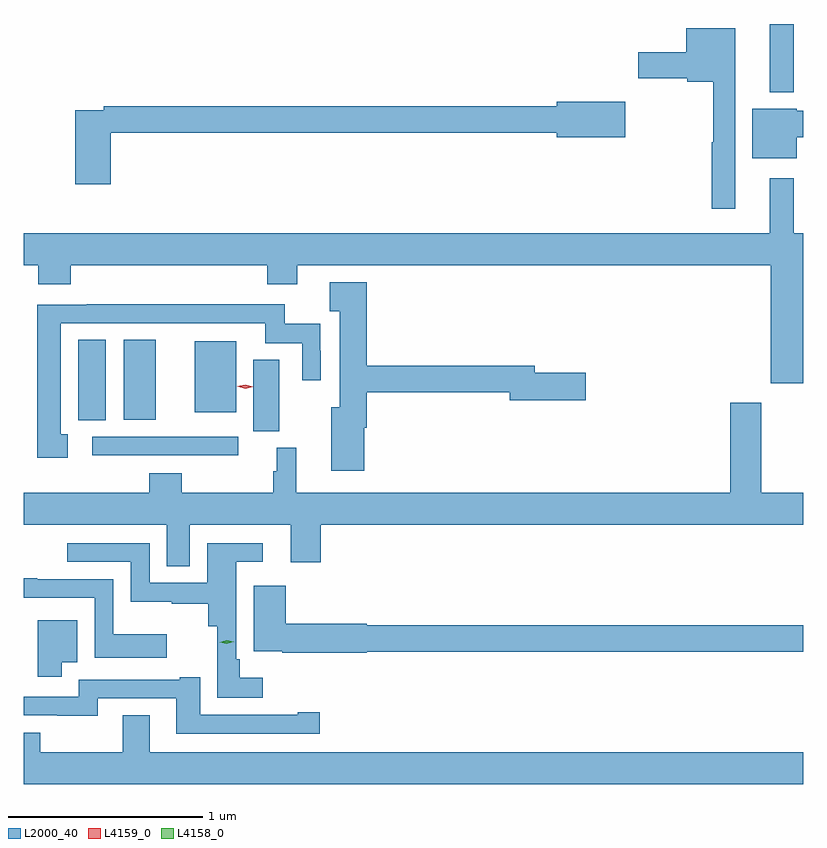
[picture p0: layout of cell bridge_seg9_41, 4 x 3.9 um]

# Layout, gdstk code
import gdstk
lib = gdstk.Library(unit=1e-6, precision=1e-09)
def R(c, l, rs):  # rectangles x0, y0, x1, y1
    for r in rs: c.add(gdstk.rectangle(r[:2], r[2:], *l))
def P(c, l, *ps):  # polygons
    for p in ps: c.add(gdstk.Polygon(p, *l))
L2000_40 = (2000, 40)
L4158_0 = (4158, 0)
L4159_0 = (4159, 0)

bridge_seg9_41 = lib.new_cell('bridge_seg9_41')
R(bridge_seg9_41, L2000_40, [(923.106,1178.127,923.854,1178.223), (923.933,1178.251,924.067,1178.617), (923.033,1178.308,923.176,1178.72), (923.267,1178.31,923.431,1178.72), (923.633,1178.348,923.845,1178.713), (926.585,1179.992,926.707,1180.342)])
P(bridge_seg9_41, L2000_40, [(926.407,1180.321),(926.156,1180.321),(926.156,1180.198),(925.908,1180.198),(925.908,1180.064),(926.16,1180.064),(926.16,1180.046),(926.293,1180.046),(926.293,1179.734),(926.286,1179.734),(926.286,1179.393),(926.407,1179.393)],
  [(923.201,1179.784),(925.49,1179.784),(925.49,1179.761),(925.843,1179.761),(925.843,1179.944),(925.49,1179.944),(925.49,1179.92),(923.164,1179.92),(923.164,1179.9),(923.018,1179.9),(923.018,1179.519),(923.201,1179.519)],
  [(926.722,1179.76),(926.755,1179.76),(926.755,1179.896),(926.722,1179.896),(926.722,1179.907),(926.495,1179.907),(926.495,1179.653),(926.722,1179.653)],
  [(922.755,1179.104),(922.829,1179.104),(922.829,1179.005),(922.994,1179.005),(922.994,1179.104),(924.005,1179.104),(924.005,1179.005),(924.157,1179.005),(924.157,1179.104),(926.588,1179.104),(926.588,1178.498),(926.755,1178.498),(926.755,1179.268),(926.707,1179.268),(926.707,1179.55),(926.585,1179.55),(926.585,1179.268),(922.755,1179.268)],
  [(924.502,1178.27),(924.515,1178.27),(924.515,1178.452),(925.25,1178.452),(925.25,1178.41),(925.639,1178.41),(925.639,1178.552),(925.378,1178.552),(925.378,1178.588),(924.515,1178.588),(924.515,1179.016),(924.324,1179.016),(924.324,1178.868),(924.377,1178.868),(924.377,1178.374),(924.332,1178.374),(924.332,1178.048),(924.502,1178.048)],
  [(922.981,1178.235),(922.945,1178.235),(922.945,1178.805),(923.993,1178.805),(923.993,1178.702),(924.183,1178.702),(924.183,1178.514),(924.279,1178.514),(924.279,1178.664),(924.276,1178.664),(924.276,1178.802),(924.093,1178.802),(924.093,1178.903),(923.077,1178.903),(923.077,1178.901),(922.824,1178.901),(922.824,1178.115),(922.981,1178.115)],
  [(923.605,1177.772),(924.125,1177.772),(924.125,1177.578),(924.278,1177.578),(924.278,1177.772),(926.755,1177.772),(926.755,1177.936),(926.541,1177.936),(926.541,1178.398),(926.381,1178.398),(926.381,1177.936),(924.152,1177.936),(924.152,1178.166),(924.053,1178.166),(924.053,1178.045),(924.034,1178.045),(924.034,1177.936),(923.564,1177.936),(923.564,1178.035),(923.399,1178.035),(923.399,1177.936),(922.755,1177.936),(922.755,1177.772),(923.489,1177.772),(923.489,1177.558),(923.605,1177.558)],
  [(923.98,1176.985),(923.864,1176.985),(923.864,1177.081),(923.844,1177.081),(923.844,1177.38),(923.845,1177.38),(923.845,1177.581),(923.98,1177.581),(923.98,1177.677),(923.696,1177.677),(923.696,1177.473),(923.4,1177.473),(923.4,1177.677),(922.977,1177.677),(922.977,1177.581),(923.304,1177.581),(923.304,1177.376),(923.513,1177.376),(923.513,1177.365),(923.702,1177.365),(923.702,1177.25),(923.748,1177.25),(923.748,1176.884),(923.98,1176.884)],
  [(923.488,1177.21),(923.214,1177.21),(923.214,1177.491),(922.822,1177.491),(922.822,1177.496),(922.755,1177.496),(922.755,1177.395),(923.118,1177.395),(923.118,1177.088),(923.488,1177.088)],
  [(924.516,1177.12),(926.755,1177.12),(926.755,1177.256),(924.516,1177.256),(924.516,1177.262),(924.098,1177.262),(924.098,1177.459),(923.936,1177.459),(923.936,1177.121),(924.081,1177.121),(924.081,1177.115),(924.516,1177.115)],
  [(922.948,1177.064),(923.029,1177.064),(923.029,1177.282),(922.826,1177.282),(922.826,1176.99),(922.948,1176.99)],
  [(924.274,1176.808),(924.161,1176.808),(924.161,1176.795),(923.659,1176.795),(923.659,1176.988),(923.555,1176.988),(923.555,1176.975),(923.037,1176.975),(923.037,1176.888),(922.755,1176.888),(922.755,1176.792),(922.927,1176.792),(922.927,1176.791),(923.133,1176.791),(923.133,1176.879),(923.537,1176.879),(923.537,1176.699),(924.274,1176.699)],
  [(926.755,1176.604),(923.401,1176.604),(923.401,1176.794),(923.261,1176.794),(923.261,1176.604),(922.839,1176.604),(922.839,1176.703),(922.755,1176.703),(922.755,1176.44),(926.755,1176.44)])
P(bridge_seg9_41, L4158_0, [(923.797,1177.159),(923.761,1177.168),(923.761,1177.169),(923.761,1177.169),(923.797,1177.179),(923.833,1177.17),(923.833,1177.17),(923.833,1177.17)])
P(bridge_seg9_41, L4159_0, [(923.89,1178.47),(923.85,1178.481),(923.85,1178.481),(923.85,1178.481),(923.89,1178.49),(923.931,1178.48),(923.931,1178.48),(923.931,1178.48)])

lib.write_gds('bridge_seg9_41.gds')
